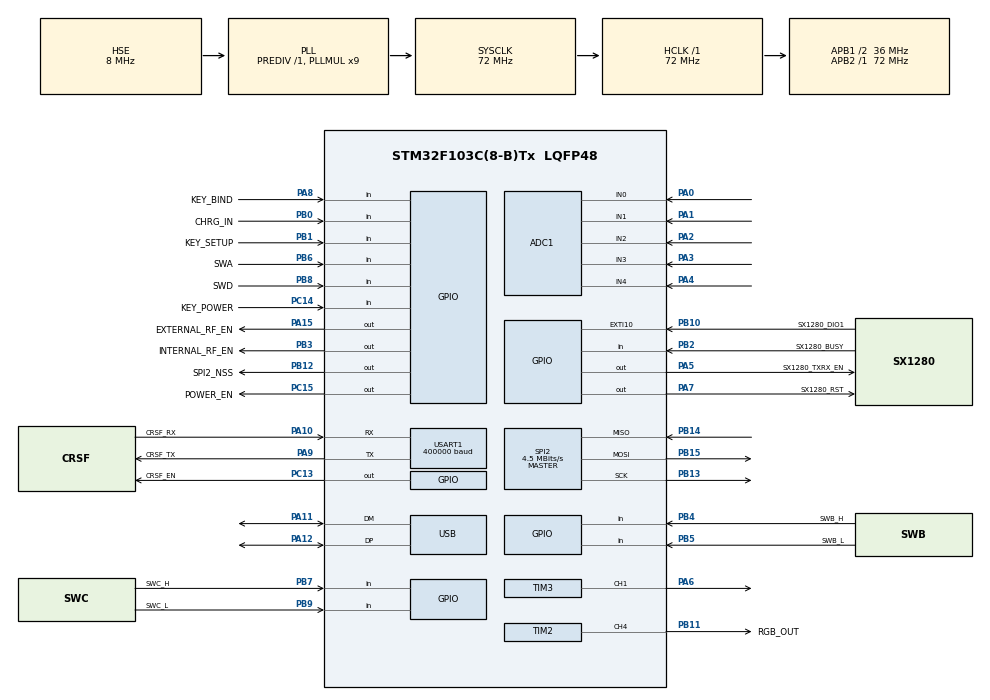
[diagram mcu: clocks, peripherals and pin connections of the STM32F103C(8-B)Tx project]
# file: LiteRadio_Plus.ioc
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ADC1.Channel-1\#ChannelRegularConversion=ADC_CHANNEL_0
ADC1.Channel-2\#ChannelRegularConversion=ADC_CHANNEL_1
ADC1.Channel-3\#ChannelRegularConversion=ADC_CHANNEL_2
ADC1.Channel-4\#ChannelRegularConversion=ADC_CHANNEL_3
ADC1.Channel-5\#ChannelRegularConversion=ADC_CHANNEL_4
ADC1.ContinuousConvMode=ENABLE
ADC1.ExternalTrigConv=ADC_SOFTWARE_START
ADC1.NbrOfConversion=5
ADC1.NbrOfConversionFlag=1
ADC1.Rank-1\#ChannelRegularConversion=1
ADC1.Rank-2\#ChannelRegularConversion=2
ADC1.Rank-3\#ChannelRegularConversion=3
ADC1.Rank-4\#ChannelRegularConversion=4
ADC1.Rank-5\#ChannelRegularConversion=5
ADC1.SamplingTime-1\#ChannelRegularConversion=ADC_SAMPLETIME_1CYCLE_5
ADC1.SamplingTime-2\#ChannelRegularConversion=ADC_SAMPLETIME_1CYCLE_5
ADC1.SamplingTime-3\#ChannelRegularConversion=ADC_SAMPLETIME_1CYCLE_5
ADC1.SamplingTime-4\#ChannelRegularConversion=ADC_SAMPLETIME_1CYCLE_5
ADC1.SamplingTime-5\#ChannelRegularConversion=ADC_SAMPLETIME_1CYCLE_5
ADC1.master=1
Dma.ADC1.0.Direction=DMA_PERIPH_TO_MEMORY
Dma.ADC1.0.Instance=DMA1_Channel1
Dma.ADC1.0.MemDataAlignment=DMA_MDATAALIGN_HALFWORD
Dma.ADC1.0.MemInc=DMA_MINC_ENABLE
Dma.ADC1.0.Mode=DMA_CIRCULAR
Dma.ADC1.0.PeriphDataAlignment=DMA_PDATAALIGN_HALFWORD
Dma.ADC1.0.PeriphInc=DMA_PINC_DISABLE
Dma.ADC1.0.Priority=DMA_PRIORITY_MEDIUM
Dma.Request0=ADC1
Dma.Request1=TIM2_CH2/CH4
Dma.Request2=USART1_TX
Dma.Request3=USART1_RX
Dma.TIM2_CH2/CH4.1.Direction=DMA_MEMORY_TO_PERIPH
Dma.TIM2_CH2/CH4.1.Instance=DMA1_Channel7
Dma.TIM2_CH2/CH4.1.MemDataAlignment=DMA_MDATAALIGN_HALFWORD
Dma.TIM2_CH2/CH4.1.MemInc=DMA_MINC_ENABLE
Dma.TIM2_CH2/CH4.1.Mode=DMA_NORMAL
Dma.TIM2_CH2/CH4.1.PeriphDataAlignment=DMA_PDATAALIGN_HALFWORD
Dma.TIM2_CH2/CH4.1.PeriphInc=DMA_PINC_DISABLE
Dma.TIM2_CH2/CH4.1.Priority=DMA_PRIORITY_MEDIUM
Dma.USART1_RX.3.Direction=DMA_PERIPH_TO_MEMORY
Dma.USART1_RX.3.Instance=DMA1_Channel5
Dma.USART1_RX.3.MemDataAlignment=DMA_MDATAALIGN_BYTE
Dma.USART1_RX.3.MemInc=DMA_MINC_ENABLE
Dma.USART1_RX.3.Mode=DMA_NORMAL
Dma.USART1_RX.3.PeriphDataAlignment=DMA_PDATAALIGN_BYTE
Dma.USART1_RX.3.PeriphInc=DMA_PINC_DISABLE
Dma.USART1_RX.3.Priority=DMA_PRIORITY_MEDIUM
Dma.USART1_TX.2.Direction=DMA_MEMORY_TO_PERIPH
Dma.USART1_TX.2.Instance=DMA1_Channel4
Dma.USART1_TX.2.MemDataAlignment=DMA_MDATAALIGN_BYTE
Dma.USART1_TX.2.MemInc=DMA_MINC_ENABLE
Dma.USART1_TX.2.Mode=DMA_NORMAL
Dma.USART1_TX.2.PeriphDataAlignment=DMA_PDATAALIGN_BYTE
Dma.USART1_TX.2.PeriphInc=DMA_PINC_DISABLE
Dma.USART1_TX.2.Priority=DMA_PRIORITY_MEDIUM
FREERTOS.HEAP_NUMBER=4
FREERTOS.INCLUDE_uxTaskGetStackHighWaterMark=1
FREERTOS.INCLUDE_vTaskDelayUntil=0
FREERTOS.INCLUDE_xEventGroupSetBitFromISR=0
FREERTOS.INCLUDE_xTimerPendFunctionCall=0
FREERTOS.MEMORY_ALLOCATION=2
FREERTOS.Tasks01=defaultTask,0,128,StartDefaultTask,Default,NULL,Static,defaultTaskBuffer,defaultTaskControlBlock
FREERTOS.configTOTAL_HEAP_SIZE=9*1024 
FREERTOS.configUSE_TIMERS=0
IWDG.Prescaler=IWDG_PRESCALER_16
Mcu.Family=STM32F1
Mcu.Name=STM32F103C(8-B)Tx
Mcu.Package=LQFP48
NVIC.DMA1_Channel1_IRQn=true\:0\:0\:false\:false\:true\:true\:false\:true
NVIC.DMA1_Channel4_IRQn=true\:0\:0\:false\:false\:true\:true\:false\:true
NVIC.DMA1_Channel5_IRQn=true\:0\:0\:false\:false\:true\:true\:false\:true
NVIC.DMA1_Channel7_IRQn=true\:0\:0\:false\:false\:true\:true\:false\:true
NVIC.EXTI15_10_IRQn=true\:5\:0\:true\:false\:true\:true\:true\:true
NVIC.PriorityGroup=NVIC_PRIORITYGROUP_4
NVIC.TIM1_UP_IRQn=true\:0\:0\:false\:false\:true\:true\:true\:true
NVIC.TIM2_IRQn=true\:0\:0\:false\:false\:true\:true\:true\:true
NVIC.TIM4_IRQn=true\:0\:0\:false\:false\:true\:false\:false\:true
NVIC.TimeBase=TIM4_IRQn
NVIC.TimeBaseIP=TIM4
NVIC.USART1_IRQn=true\:0\:0\:false\:false\:true\:true\:true\:true
NVIC.USB_LP_CAN1_RX0_IRQn=true\:0\:0\:false\:false\:true\:true\:false\:true
PA0-WKUP.Signal=ADCx_IN0
PA1.Signal=ADCx_IN1
PA10.GPIO_Label=CRSF_RX
PA10.Mode=Asynchronous
PA10.Signal=USART1_RX
PA11.Mode=Device
PA11.Signal=USB_DM
PA12.Mode=Device
PA12.Signal=USB_DP
PA13.Mode=Serial_Wire
PA13.Signal=SYS_JTMS-SWDIO
PA14.Mode=Serial_Wire
PA14.Signal=SYS_JTCK-SWCLK
PA15.GPIO_Label=EXTERNAL_RF_EN
PA15.Signal=GPIO_Output
PA2.Signal=ADCx_IN2
PA3.Signal=ADCx_IN3
PA4.Signal=ADCx_IN4
PA5.GPIO_Label=SX1280_TXRX_EN
PA5.Signal=GPIO_Output
PA6.Signal=S_TIM3_CH1
PA7.GPIO_Label=SX1280_RST
PA7.GPIO_PuPd=GPIO_PULLUP
PA7.PinState=GPIO_PIN_SET
PA7.Signal=GPIO_Output
PA8.GPIO_Label=KEY_BIND
PA8.GPIO_PuPd=GPIO_PULLUP
PA8.Signal=GPIO_Input
PA9.GPIO_Label=CRSF_TX
PA9.Mode=Asynchronous
PA9.Signal=USART1_TX
PB0.GPIO_Label=CHRG_IN
PB0.GPIO_PuPd=GPIO_PULLUP
PB0.Signal=GPIO_Input
PB1.GPIO_Label=KEY_SETUP
PB1.GPIO_PuPd=GPIO_PULLUP
PB1.Signal=GPIO_Input
PB10.GPIO_Label=SX1280_DIO1
PB10.GPIO_ModeDefaultEXTI=GPIO_MODE_IT_RISING
PB10.GPIO_PuPd=GPIO_PULLDOWN
PB10.Signal=GPXTI10
PB11.GPIO_Label=RGB_OUT
PB11.Signal=S_TIM2_CH4
PB12.GPIO_Label=SPI2_NSS
PB12.GPIO_Speed=GPIO_SPEED_FREQ_HIGH
PB12.Signal=GPIO_Output
PB13.Mode=Full_Duplex_Master
PB13.Signal=SPI2_SCK
PB14.Mode=Full_Duplex_Master
PB14.Signal=SPI2_MISO
PB15.Mode=Full_Duplex_Master
PB15.Signal=SPI2_MOSI
PB2.GPIO_Label=SX1280_BUSY
PB2.GPIO_PuPd=GPIO_PULLUP
PB2.Signal=GPIO_Input
PB3.GPIO_Label=INTERNAL_RF_EN
PB3.Signal=GPIO_Output
PB4.GPIO_Label=SWB_H
PB4.GPIO_PuPd=GPIO_PULLUP
PB4.Signal=GPIO_Input
PB5.GPIO_Label=SWB_L
PB5.GPIO_PuPd=GPIO_PULLUP
PB5.Signal=GPIO_Input
PB6.GPIO_Label=SWA
PB6.GPIO_PuPd=GPIO_PULLUP
PB6.Signal=GPIO_Input
PB7.GPIO_Label=SWC_H
PB7.GPIO_PuPd=GPIO_PULLUP
PB7.Signal=GPIO_Input
PB8.GPIO_Label=SWD
PB8.GPIO_PuPd=GPIO_PULLUP
PB8.Signal=GPIO_Input
PB9.GPIO_Label=SWC_L
PB9.GPIO_PuPd=GPIO_PULLUP
PB9.Signal=GPIO_Input
PC13-TAMPER-RTC.GPIO_Label=CRSF_EN
PC13-TAMPER-RTC.Signal=GPIO_Output
PC14-OSC32_IN.GPIO_Label=KEY_POWER
PC14-OSC32_IN.GPIO_PuPd=GPIO_PULLUP
PC14-OSC32_IN.Signal=GPIO_Input
PC15-OSC32_OUT.GPIO_Label=POWER_EN
PC15-OSC32_OUT.GPIO_PuPd=GPIO_PULLDOWN
PC15-OSC32_OUT.Signal=GPIO_Output
PD0-OSC_IN.Mode=HSE-External-Oscillator
PD0-OSC_IN.Signal=RCC_OSC_IN
PD1-OSC_OUT.Mode=HSE-External-Oscillator
PD1-OSC_OUT.Signal=RCC_OSC_OUT
ProjectManager.HeapSize=0x000
ProjectManager.StackSize=0x200
ProjectManager.TargetToolchain=MDK-ARM V5.27
RCC.ADCPresc=RCC_ADCPCLK2_DIV6
RCC.AHBFreq_Value=72000000
RCC.APB1CLKDivider=RCC_HCLK_DIV2
RCC.APB1Freq_Value=36000000
RCC.APB1TimFreq_Value=72000000
RCC.APB2Freq_Value=72000000
RCC.APB2TimFreq_Value=72000000
RCC.HCLKFreq_Value=72000000
RCC.PLLMUL=RCC_PLL_MUL9
RCC.PLLSourceVirtual=RCC_PLLSOURCE_HSE
RCC.SYSCLKFreq_VALUE=72000000
RCC.SYSCLKSource=RCC_SYSCLKSOURCE_PLLCLK
RCC.USBFreq_Value=48000000
RCC.USBPrescaler=RCC_USBCLKSOURCE_PLL_DIV1_5
SH.ADCx_IN0.0=ADC1_IN0,IN0
SH.ADCx_IN1.0=ADC1_IN1,IN1
SH.ADCx_IN2.0=ADC1_IN2,IN2
SH.ADCx_IN3.0=ADC1_IN3,IN3
SH.ADCx_IN4.0=ADC1_IN4,IN4
SH.S_TIM2_CH4.0=TIM2_CH4,PWM Generation4 CH4
SH.S_TIM3_CH1.0=TIM3_CH1,PWM Generation1 CH1
SPI2.BaudRatePrescaler=SPI_BAUDRATEPRESCALER_8
SPI2.CRCCalculation=SPI_CRCCALCULATION_DISABLE
SPI2.CalculateBaudRate=4.5 MBits/s
SPI2.Direction=SPI_DIRECTION_2LINES
SPI2.Mode=SPI_MODE_MASTER
SPI2.VirtualType=VM_MASTER
TIM1.AutoReloadPreload=TIM_AUTORELOAD_PRELOAD_ENABLE
TIM1.Period=3999
TIM1.Prescaler=71
TIM2.Channel-PWM\ Generation4\ CH4=TIM_CHANNEL_4
TIM2.OCFastMode_PWM-PWM\ Generation4\ CH4=TIM_OCFAST_DISABLE
TIM2.OCMode_PWM-PWM\ Generation4\ CH4=TIM_OCMODE_PWM1
TIM2.OCPolarity_4=TIM_OCPOLARITY_HIGH
TIM2.Period=89
TIM2.Prescaler=0
TIM2.Pulse-PWM\ Generation4\ CH4=0
TIM3.Channel-PWM\ Generation1\ CH1=TIM_CHANNEL_1
TIM3.Prescaler=99
USART1.BaudRate=400000
USART1.VirtualMode=VM_ASYNC
USB_DEVICE.CLASS_NAME_FS=CUSTOM_HID
USB_DEVICE.CUSTOM_HID_FS_BINTERVAL=2
USB_DEVICE.USBD_CUSTOMHID_OUTREPORT_BUF_SIZE=64
USB_DEVICE.USBD_CUSTOM_HID_REPORT_DESC_SIZE=108
USB_DEVICE.VirtualMode=CustomHid
USB_DEVICE.VirtualModeFS=Custom_Hid_FS
VP_FREERTOS_VS_CMSIS_V1.Mode=CMSIS_V1
VP_IWDG_VS_IWDG.Mode=IWDG_Activate
VP_SYS_VS_tim4.Mode=TIM4
VP_TIM1_VS_ClockSourceINT.Mode=Internal
VP_TIM2_VS_ClockSourceINT.Mode=Internal
VP_USB_DEVICE_VS_USB_DEVICE_CUSTOM_HID_FS.Mode=CUSTOM_HID_FS
board=custom

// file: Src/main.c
/* USER CODE BEGIN Header */
/**
  ******************************************************************************
  * @file           : main.c
  * @brief          : Main program body
  ******************************************************************************
  * @attention
  *
  * <h2><center>&copy; Copyright (c) 2021 STMicroelectronics.
  * All rights reserved.</center></h2>
  *
  * This software component is licensed by ST under Ultimate Liberty license
  * SLA0044, the "License"; You may not use this file except in compliance with
  * the License. You may obtain a copy of the License at:
  *                             www.st.com/SLA0044
  *
  ******************************************************************************
  */
/* USER CODE END Header */

#include "main.h"
#include "cmsis_os.h"
#include "adc.h"
#include "dma.h"
#include "iwdg.h"
#include "spi.h"
#include "tim.h"
#include "usart.h"
#include "usb_device.h"
#include "gpio.h"

/* USER CODE BEGIN Includes */
#include "usb_device.h"
#include "adc.h"
#include "gimbal.h"
#include "switches.h"
#include "key.h"
#include "buzzer.h"
#include "mixes.h"
#include "joystick.h"
#include "rgb.h"
#include "status.h"
#include "delay.h"
#include "radiolink.h"
#if defined(LiteRadio_Plus_SX1280)
#include "sx1280.h"
#elif defined(LiteRadio_Plus_SX1276)

#endif
/* USER CODE END Includes */

void SystemClock_Config(void);
void MX_FREERTOS_Init(void);
/* USER CODE BEGIN PFP */
uint8_t isEnterTrainingMode(){
    GPIO_InitTypeDef GPIO_InitStruct = {0};
    GPIO_InitStruct.Pin = GPIO_PIN_12;
    GPIO_InitStruct.Mode = GPIO_MODE_INPUT;
    GPIO_InitStruct.Pull = GPIO_NOPULL;     // 外部上拉了
    GPIO_InitStruct.Speed = GPIO_SPEED_FREQ_HIGH;
    HAL_GPIO_Init(GPIOA, &GPIO_InitStruct);
    /* 检测到低电平进入教练模式 */
    return !HAL_GPIO_ReadPin(GPIOA, GPIO_PIN_12);
}
/* USER CODE END PFP */

int main(void)
{
  /* USER CODE BEGIN 1 */
  SCB->VTOR = FLASH_BASE | 0x8000;
  __enable_irq();
  /* USER CODE END 1 */

  /* MCU Configuration--------------------------------------------------------*/

  /* Reset of all peripherals, Initializes the Flash interface and the Systick. */
  HAL_Init();

  /* Configure the system clock */
  SystemClock_Config();

  /* Initialize all configured peripherals */
  isTrainingMode = isEnterTrainingMode();
  MX_GPIO_Init();
  MX_DMA_Init();
  MX_ADC1_Init();
  MX_TIM3_Init();
  MX_SPI2_Init();
  MX_TIM2_Init();
  MX_USART1_UART_Init();
  MX_TIM1_Init();
  //HAL_TIM_Base_Stop_IT(&htim1);//开机完成之前先关闭射频输出
  MX_IWDG_Init();
  /* USER CODE BEGIN 2 */
#ifdef LiteRadio_Plus_CC2500
  CC2500_GPIO_Disable();
#endif

  Gimbal_Init();

  Status_Init();

  /* USER CODE END 2 */

  /* Call init function for freertos objects (in freertos.c) */
  MX_FREERTOS_Init();

  /* Start scheduler */
  osKernelStart();

  /* We should never get here as control is now taken by the scheduler */

  /* Infinite loop */
  while (1)
  {

  }
}

void SystemClock_Config(void)
{
  RCC_OscInitTypeDef RCC_OscInitStruct = {0};
  RCC_ClkInitTypeDef RCC_ClkInitStruct = {0};
  RCC_PeriphCLKInitTypeDef PeriphClkInit = {0};

  /** Initializes the CPU, AHB and APB busses clocks
  */
 //RCC_OscInitStruct.OscillatorType = RCC_OSCILLATORTYPE_LSI|RCC_OSCILLATORTYPE_HSE;
  RCC_OscInitStruct.OscillatorType = RCC_OSCILLATORTYPE_HSE;
  RCC_OscInitStruct.HSEState = RCC_HSE_ON;
  RCC_OscInitStruct.HSEPredivValue = RCC_HSE_PREDIV_DIV1;
  RCC_OscInitStruct.HSIState = RCC_HSI_ON;
//  RCC_OscInitStruct.LSIState = RCC_LSI_ON;
  RCC_OscInitStruct.PLL.PLLState = RCC_PLL_ON;
  RCC_OscInitStruct.PLL.PLLSource = RCC_PLLSOURCE_HSE;
  RCC_OscInitStruct.PLL.PLLMUL = RCC_PLL_MUL9;
  if (HAL_RCC_OscConfig(&RCC_OscInitStruct) != HAL_OK)
  {
    Error_Handler();
  }
  /** Initializes the CPU, AHB and APB busses clocks
  */
  RCC_ClkInitStruct.ClockType = RCC_CLOCKTYPE_HCLK|RCC_CLOCKTYPE_SYSCLK
                              |RCC_CLOCKTYPE_PCLK1|RCC_CLOCKTYPE_PCLK2;
  RCC_ClkInitStruct.SYSCLKSource = RCC_SYSCLKSOURCE_PLLCLK;
  RCC_ClkInitStruct.AHBCLKDivider = RCC_SYSCLK_DIV1;
  RCC_ClkInitStruct.APB1CLKDivider = RCC_HCLK_DIV2;
  RCC_ClkInitStruct.APB2CLKDivider = RCC_HCLK_DIV1;

  if (HAL_RCC_ClockConfig(&RCC_ClkInitStruct, FLASH_LATENCY_2) != HAL_OK)
  {
    Error_Handler();
  }
  PeriphClkInit.PeriphClockSelection = RCC_PERIPHCLK_ADC|RCC_PERIPHCLK_USB;
  PeriphClkInit.AdcClockSelection = RCC_ADCPCLK2_DIV6;
  PeriphClkInit.UsbClockSelection = RCC_USBCLKSOURCE_PLL_DIV1_5;
  if (HAL_RCCEx_PeriphCLKConfig(&PeriphClkInit) != HAL_OK)
  {
    Error_Handler();
  }
}

void HAL_TIM_PeriodElapsedCallback(TIM_HandleTypeDef *htim)
{
  if (htim->Instance == TIM4) {
    HAL_IncTick();
  }
}

void Error_Handler(void)
{
}

/************************ (C) COPYRIGHT STMicroelectronics *****END OF FILE****/

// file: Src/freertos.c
/* USER CODE BEGIN Header */
/**
  ******************************************************************************
  * File Name          : freertos.c
  * Description        : Code for freertos applications
  ******************************************************************************
  * @attention
  *
  * <h2><center>&copy; Copyright (c) 2021 STMicroelectronics.
  * All rights reserved.</center></h2>
  *
  * This software component is licensed by ST under Ultimate Liberty license
  * SLA0044, the "License"; You may not use this file except in compliance with
  * the License. You may obtain a copy of the License at:
  *                             www.st.com/SLA0044
  *
  ******************************************************************************
  */
/* USER CODE END Header */

#include "FreeRTOS.h"
#include "task.h"
#include "main.h"
#include "cmsis_os.h"

/* USER CODE BEGIN Includes */
#include "usb_device.h"
#include "adc.h"
#include "gimbal.h"
#include "switches.h"
#include "key.h"
#include "buzzer.h"
#include "radiolink.h"
#include "mixes.h"
#include "joystick.h"
#include "frsky_d16.h"
#include "status.h"
#include "rgb.h"
/* USER CODE END Includes */

/* USER CODE BEGIN Variables */
osSemaphoreId mixStartBinarySemHandle;
osSemaphoreId joystickStartBinarySemHandle;
TaskHandle_t startTaskHandle;

/* USER CODE END Variables */
osThreadId defaultTaskHandle;
uint32_t defaultTaskBuffer[ 128 ];
osStaticThreadDef_t defaultTaskControlBlock;

/* USER CODE BEGIN FunctionPrototypes */
void startTask(void *param);
/* USER CODE END FunctionPrototypes */

void StartDefaultTask(void const * argument);

extern void MX_USB_DEVICE_Init(void);
void MX_FREERTOS_Init(void); /* (MISRA C 2004 rule 8.1) */

/* GetIdleTaskMemory prototype (linked to static allocation support) */
void vApplicationGetIdleTaskMemory( StaticTask_t **ppxIdleTaskTCBBuffer, StackType_t **ppxIdleTaskStackBuffer, uint32_t *pulIdleTaskStackSize );

/* USER CODE BEGIN GET_IDLE_TASK_MEMORY */
static StaticTask_t xIdleTaskTCBBuffer;
static StackType_t xIdleStack[configMINIMAL_STACK_SIZE];

void vApplicationGetIdleTaskMemory( StaticTask_t **ppxIdleTaskTCBBuffer, StackType_t **ppxIdleTaskStackBuffer, uint32_t *pulIdleTaskStackSize )
{
  *ppxIdleTaskTCBBuffer = &xIdleTaskTCBBuffer;
  *ppxIdleTaskStackBuffer = &xIdleStack[0];
  *pulIdleTaskStackSize = configMINIMAL_STACK_SIZE;
  /* place for user code */
}
/* USER CODE END GET_IDLE_TASK_MEMORY */

void MX_FREERTOS_Init(void) {

  /* USER CODE BEGIN RTOS_SEMAPHORES */
  /* add semaphores, ... */
  osSemaphoreDef(mixStartBinarySem);
  mixStartBinarySemHandle = osSemaphoreCreate(osSemaphore(mixStartBinarySem), 1);
  osSemaphoreDef(joystickStartBinarySem);
  joystickStartBinarySemHandle = osSemaphoreCreate(osSemaphore(joystickStartBinarySem), 1);
  /* USER CODE END RTOS_SEMAPHORES */

  /* Create the thread(s) */
  /* definition and creation of defaultTask */
  osThreadStaticDef(defaultTask, StartDefaultTask, osPriorityNormal, 0, 128, defaultTaskBuffer, &defaultTaskControlBlock);
  defaultTaskHandle = osThreadCreate(osThread(defaultTask), NULL);

  /* USER CODE BEGIN RTOS_THREADS */
  /* add threads, ... */
  xTaskCreate(startTask, "START_TASK", 100, NULL, 2, &startTaskHandle);
  /* USER CODE END RTOS_THREADS */

}

void StartDefaultTask(void const * argument)
{
  /* init code for USB_DEVICE */
  if(!isTrainingMode){
    MX_USB_DEVICE_Init();
  }
  /* USER CODE BEGIN StartDefaultTask */
  xSemaphoreGive(mixStartBinarySemHandle);
  xSemaphoreGive(joystickStartBinarySemHandle);
  /* Infinite loop */
  for(;;)
  {
    osDelay(10);
  }
  /* USER CODE END StartDefaultTask */
}

/* USER CODE BEGIN Application */
void startTask(void *param)
{
    for(;;)
    {
        KeyEventHandle = xEventGroupCreate();
        buzzerEventHandle = xEventGroupCreate();
        rgbEventHandle = xEventGroupCreate();
        radioEventHandle = xEventGroupCreate();
        gimbalEventHandle = xEventGroupCreate();

        taskENTER_CRITICAL();	/*进入临界�?*/

        xTaskCreate(statusTask, "STATUS", 80, NULL, 3, NULL);
        xTaskCreate(radiolinkTask, "DATA_PROCESS", 256, NULL, 3, &radiolinkTaskHandle);
        xTaskCreate(gimbalTask, "GIMBAL", 100, NULL, 3, NULL);
        xTaskCreate(rgbTask, "RGB", 128, NULL, 3, NULL);
        xTaskCreate(buzzerTask, "BUZZER", 64, NULL, 1, NULL);
        xTaskCreate(joystickTask, "JOYSTICK", 128, NULL, 3, &joystickTaskHandle);
        xTaskCreate(switchesTask, "SWITCHES", 100, NULL, 2, NULL);
        xTaskCreate(mixesTask, "MIXES", 600, NULL, 3, &mixesTaskHandle);
        xTaskCreate(keyTask, "BUTTON_SCAN", 80, NULL, 3, NULL);

        vTaskSuspend(joystickTaskHandle);//挂起joystick
        vTaskSuspend(radiolinkTaskHandle);//挂起radiolink

        vTaskDelete(startTaskHandle);
        taskEXIT_CRITICAL();
        osDelay(1);
    }
}
/* USER CODE END Application */

/************************ (C) COPYRIGHT STMicroelectronics *****END OF FILE****/
